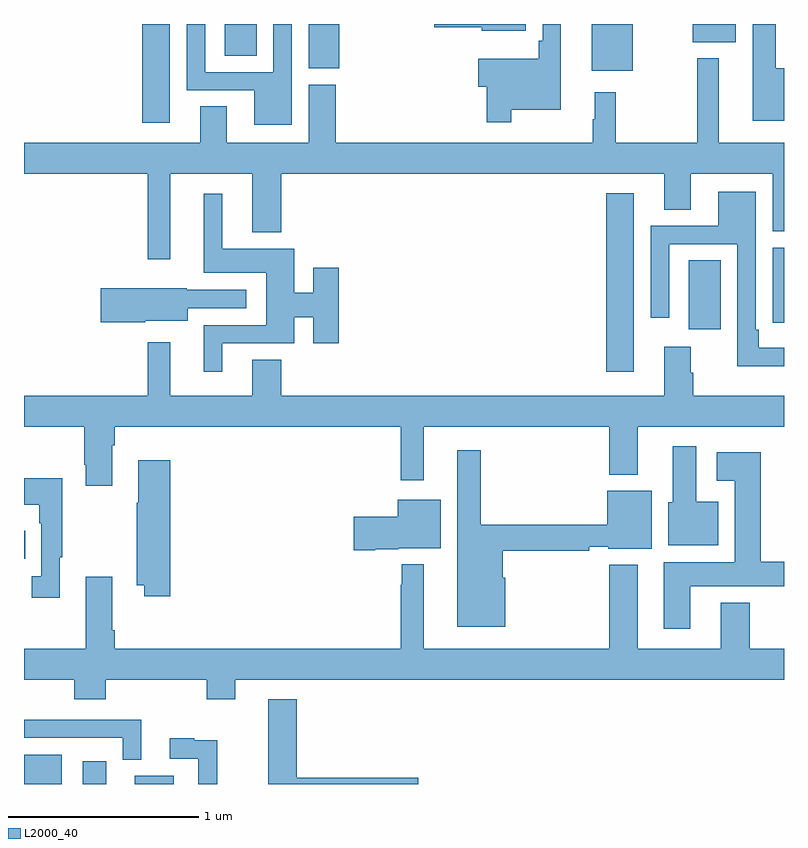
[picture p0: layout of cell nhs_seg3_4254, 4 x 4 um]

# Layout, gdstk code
import gdstk
lib = gdstk.Library(unit=1e-6, precision=1e-09)
def R(c, l, rs):  # rectangles x0, y0, x1, y1
    for r in rs: c.add(gdstk.rectangle(r[:2], r[2:], *l))
def P(c, l, *ps):  # polygons
    for p in ps: c.add(gdstk.Polygon(p, *l))
L2000_40 = (2000, 40)

nhs_seg3_4254 = lib.new_cell('nhs_seg3_4254')
R(nhs_seg3_4254, L2000_40, [(337,668.4,337.198,668.554), (337.31,668.4,337.432,668.521), (337.583,668.4,337.789,668.443), (337,669.586,337.007,669.733), (340.064,670.569,340.21,671.509), (340.499,670.794,340.666,671.156), (337.622,671.88,337.768,672.4), (339.989,672.155,340.204,672.4), (338.498,672.166,338.66,672.4), (338.057,672.232,338.224,672.4), (340.52,672.305,340.747,672.4)])
P(nhs_seg3_4254, L2000_40, [(338.409,672.4),(338.313,672.4),(338.313,672.147),(337.953,672.147),(337.953,672.4),(337.857,672.4),(337.857,672.051),(338.213,672.051),(338.213,671.87),(338.409,671.87)],
  [(339.565,671.948),(339.826,671.948),(339.826,672.4),(339.729,672.4),(339.729,672.313),(339.709,672.313),(339.709,672.217),(339.392,672.217),(339.392,672.07),(339.436,672.07),(339.436,671.883),(339.565,671.883)],
  [(339.64,672.4),(339.158,672.4),(339.158,672.383),(339.408,672.383),(339.408,672.365),(339.64,672.365)],
  [(341,672.167),(340.957,672.167),(340.957,672.4),(340.835,672.4),(340.835,671.891),(341,671.891)],
  [(340.37,671.422),(340.51,671.422),(340.51,671.612),(340.94,671.612),(340.94,671.308),(341,671.308),(341,671.776),(340.657,671.776),(340.657,672.22),(340.543,672.22),(340.543,671.776),(340.114,671.776),(340.114,672.04),(340.004,672.04),(340.004,671.9),(339.993,671.9),(339.993,671.776),(338.642,671.776),(338.642,672.081),(338.498,672.081),(338.498,671.776),(338.068,671.776),(338.068,671.966),(337.928,671.966),(337.928,671.776),(337,671.776),(337,671.612),(337.65,671.612),(337.65,671.163),(337.771,671.163),(337.771,671.612),(338.201,671.612),(338.201,671.303),(338.354,671.303),(338.354,671.612),(340.37,671.612)],
  [(341,670.696),(340.867,670.696),(340.867,670.792),(340.851,670.792),(340.851,671.518),(340.655,671.518),(340.655,671.337),(340.299,671.337),(340.299,670.854),(340.395,670.854),(340.395,671.241),(340.755,671.241),(340.755,670.598),(341,670.598)],
  [(338.044,670.719),(338.422,670.719),(338.422,670.857),(338.522,670.857),(338.522,670.719),(338.657,670.719),(338.657,671.116),(338.522,671.116),(338.522,670.985),(338.422,670.985),(338.422,671.218),(338.044,671.218),(338.044,671.506),(337.946,671.506),(337.946,671.09),(338.276,671.09),(338.276,670.815),(337.946,670.815),(337.946,670.569),(338.044,670.569)],
  [(341,671.223),(340.94,671.223),(340.94,670.939),(340.941,670.939),(340.941,670.827),(341,670.827)],
  [(337.638,670.838),(337.861,670.838),(337.861,670.905),(338.17,670.905),(338.17,671.001),(337.857,671.001),(337.857,671.009),(337.404,671.009),(337.404,670.831),(337.638,670.831)],
  [(337.465,670.184),(337.478,670.184),(337.478,670.28),(338.982,670.28),(338.982,669.999),(339.103,669.999),(339.103,670.28),(340.079,670.28),(340.079,670.028),(340.231,670.028),(340.231,670.28),(341,670.28),(341,670.444),(340.523,670.444),(340.523,670.565),(340.51,670.565),(340.51,670.702),(340.37,670.702),(340.37,670.444),(338.354,670.444),(338.354,670.634),(338.201,670.634),(338.201,670.444),(337.771,670.444),(337.771,670.726),(337.65,670.726),(337.65,670.444),(337,670.444),(337,670.28),(337.318,670.28),(337.318,670.081),(337.325,670.081),(337.325,669.969),(337.465,669.969)],
  [(340.654,669.886),(340.537,669.886),(340.537,670.177),(340.415,670.177),(340.415,669.882),(340.391,669.882),(340.391,669.656),(340.654,669.656)],
  [(339.532,669.486),(339.52,669.486),(339.52,669.628),(339.974,669.628),(339.974,669.648),(340.074,669.648),(340.074,669.638),(340.303,669.638),(340.303,669.943),(340.07,669.943),(340.07,669.764),(339.403,669.764),(339.403,670.156),(339.281,670.156),(339.281,669.227),(339.532,669.227)],
  [(340.507,669.44),(340.86,669.44),(340.86,669.441),(341,669.441),(341,669.569),(340.877,669.569),(340.877,670.147),(340.647,670.147),(340.647,669.995),(340.742,669.995),(340.742,669.568),(340.367,669.568),(340.367,669.216),(340.507,669.216)],
  [(337.769,670.105),(337.601,670.105),(337.601,669.881),(337.594,669.881),(337.594,669.446),(337.634,669.446),(337.634,669.387),(337.769,669.387)],
  [(337.189,669.593),(337.201,669.593),(337.201,670.009),(337,670.009),(337,669.869),(337.08,669.869),(337.08,669.773),(337.092,669.773),(337.092,669.494),(337.041,669.494),(337.041,669.381),(337.189,669.381)],
  [(338.848,669.635),(338.97,669.635),(338.97,669.641),(339.193,669.641),(339.193,669.895),(338.966,669.895),(338.966,669.807),(338.736,669.807),(338.736,669.629),(338.848,669.629)],
  [(337.43,668.948),(337.961,668.948),(337.961,668.846),(338.113,668.846),(338.113,668.948),(341,668.948),(341,669.112),(340.82,669.112),(340.82,669.355),(340.667,669.355),(340.667,669.112),(340.231,669.112),(340.231,669.553),(340.079,669.553),(340.079,669.112),(339.103,669.112),(339.103,669.556),(338.989,669.556),(338.989,669.449),(338.982,669.449),(338.982,669.112),(337.478,669.112),(337.478,669.208),(337.465,669.208),(337.465,669.49),(337.325,669.49),(337.325,669.112),(337,669.112),(337,668.948),(337.265,668.948),(337.265,668.846),(337.43,668.846)],
  [(339.076,668.432),(338.435,668.432),(338.435,668.845),(338.285,668.845),(338.285,668.4),(339.076,668.4)],
  [(337.618,668.739),(337,668.739),(337,668.643),(337.521,668.643),(337.521,668.528),(337.618,668.528)],
  [(338.018,668.63),(337.895,668.63),(337.895,668.641),(337.767,668.641),(337.767,668.532),(337.917,668.532),(337.917,668.4),(338.018,668.4)])

lib.write_gds('nhs_seg3_4254.gds')
